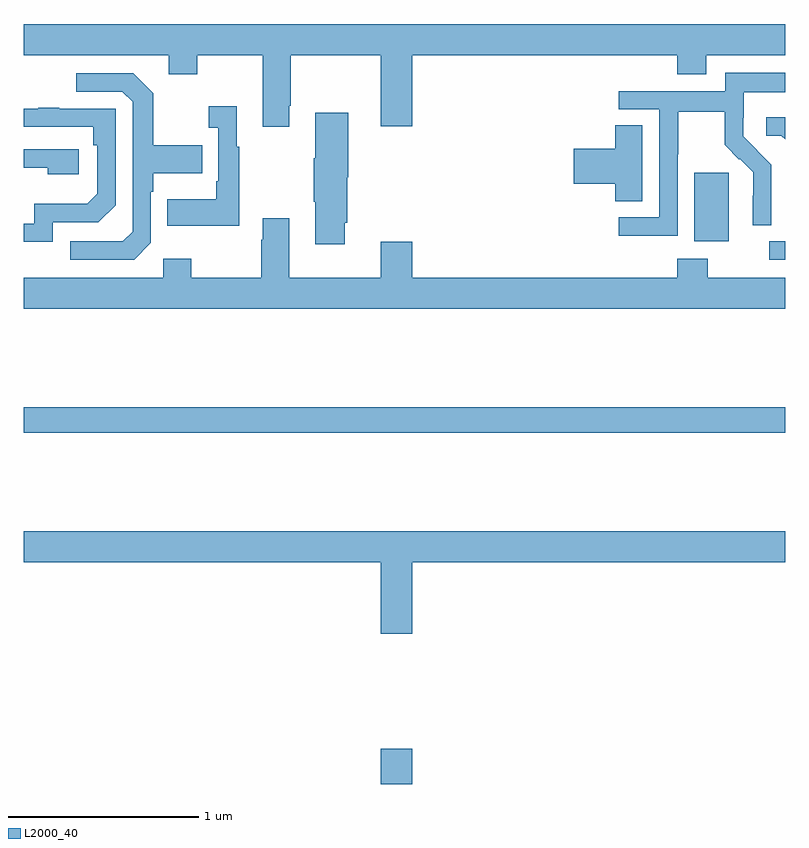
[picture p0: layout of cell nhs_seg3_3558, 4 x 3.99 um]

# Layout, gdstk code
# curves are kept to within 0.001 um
import gdstk
lib = gdstk.Library(unit=1e-6, precision=1e-09)
def R(c, l, rs):  # rectangles x0, y0, x1, y1
    for r in rs: c.add(gdstk.rectangle(r[:2], r[2:], *l))
def P(c, l, *ps):  # polygons
    for p in ps: c.add(gdstk.Polygon(p, *l))
L2000_40 = (2000, 40)

nhs_seg3_3558 = lib.new_cell('nhs_seg3_3558')
R(nhs_seg3_3558, L2000_40, [(296.876,718.4,297.04,718.585), (295,720.244,299,720.38), (298.917,721.155,299,721.251), (298.523,721.25,298.702,721.611)])
P(nhs_seg3_3558, L2000_40, [(296.395,721.963),(296.403,721.963),(296.403,722.228),(296.876,722.228),(296.876,721.854),(297.04,721.854),(297.04,722.228),(298.433,722.228),(298.433,722.129),(298.585,722.129),(298.585,722.228),(299,722.228),(299,722.392),(295,722.392),(295,722.228),(295.763,722.228),(295.763,722.129),(295.911,722.129),(295.911,722.228),(296.255,722.228),(296.255,721.851),(296.395,721.851)],
  [(298.434,721.708),(298.437,721.708),(298.437,721.932),(298.681,721.932),(298.681,721.757),(298.758,721.68),(298.761,721.683),(298.832,721.613),(298.832,721.49),(298.83,721.49),(298.83,721.336),(298.926,721.336),(298.926,721.654),(298.78,721.802),(298.78,721.899),(298.782,721.899),(298.782,722.033),(299,722.033),(299,722.137),(298.686,722.137),(298.686,722.04),(298.125,722.04),(298.125,721.944),(298.338,721.944),(298.338,721.377),(298.125,721.377),(298.125,721.279),(298.434,721.279)],
  [(295.668,721.242),(295.668,721.511),(295.681,721.511),(295.681,721.607),(295.937,721.607),(295.937,721.755),(295.681,721.755),(295.681,722.027),(295.575,722.133),(295.275,722.133),(295.275,722.037),(295.518,722.037),(295.572,721.983),(295.572,721.302),(295.521,721.251),(295.245,721.251),(295.245,721.155),(295.581,721.155)],
  [(296.131,721.747),(296.119,721.747),(296.119,721.96),(295.971,721.96),(295.971,721.847),(296.022,721.847),(296.022,721.567),(296.01,721.567),(296.01,721.471),(295.753,721.471),(295.753,721.331),(296.131,721.331)],
  [(295.152,721.35),(295.392,721.35),(295.482,721.44),(295.482,721.947),(295.187,721.947),(295.187,721.952),(295.075,721.952),(295.075,721.947),(295,721.947),(295,721.851),(295.366,721.851),(295.366,721.754),(295.386,721.754),(295.386,721.5),(295.333,721.447),(295.056,721.447),(295.056,721.344),(295,721.344),(295,721.248),(295.152,721.248)],
  [(296.686,721.348),(296.699,721.348),(296.699,721.587),(296.704,721.587),(296.704,721.927),(296.531,721.927),(296.531,721.687),(296.524,721.687),(296.524,721.459),(296.531,721.459),(296.531,721.236),(296.686,721.236)],
  [(299,721.903),(298.899,721.903),(298.899,721.806),(298.98,721.806),(299,721.786)],
  [(298.249,721.859),(298.106,721.859),(298.106,721.736),(297.888,721.736),(297.888,721.553),(298.106,721.553),(298.106,721.462),(298.249,721.462)],
  [(295.288,721.734),(295,721.734),(295,721.638),(295.127,721.638),(295.127,721.604),(295.288,721.604)],
  [(299,721.06),(298.593,721.06),(298.593,721.159),(298.433,721.159),(298.433,721.06),(297.04,721.06),(297.04,721.249),(296.876,721.249),(296.876,721.06),(296.395,721.06),(296.395,721.372),(296.255,721.372),(296.255,721.259),(296.248,721.259),(296.248,721.06),(295.881,721.06),(295.881,721.159),(295.734,721.159),(295.734,721.06),(295,721.06),(295,720.896),(299,720.896)],
  [(297.04,719.564),(299,719.564),(299,719.728),(295,719.728),(295,719.564),(296.876,719.564),(296.876,719.19),(297.04,719.19)])

lib.write_gds('nhs_seg3_3558.gds')
